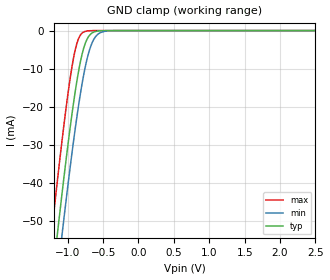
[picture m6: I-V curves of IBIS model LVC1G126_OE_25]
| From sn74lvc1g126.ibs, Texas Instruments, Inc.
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[Model]   LVC1G126_OE_25
Model_type  Input
Vinl=0.7
Vinh=1.7
| variable   typ   min   max
C_comp   1.13pF   0.90pF   1.36pF
[Temperature Range]   40   100   -40
| Ambient temperature   25   85   -40
[Voltage range]   2.5   2.3   2.7
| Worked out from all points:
|   GND clamp passes 1 mA (typ) near -0.68 V on its own axis
[GND Clamp]
| LVC1G126_OE_25
|   Voltage   I(typ)   I(min)   I(max)
-5.5V     -872.3mA   -880mA     -863mA
-1.23V    -67.62mA   -78.47mA   -53.67mA
-1.155V   -55.02mA   -65.9mA    -41.02mA
-1.13V    -50.91mA   -61.78mA   -36.92mA
-1.085V   -43.65mA   -54.48mA   -29.72mA
-1.065V   -40.48mA   -51.28mA   -26.62mA
-950mV    -23.39mA   -33.72mA   -10.74mA
-860mV    -12.16mA   -21.41mA   -2.808mA
-785mV    -5.383mA   -12.75mA   -501uA
-715mV    -1.873mA   -6.62mA    -78.61uA
-575mV    -130.5uA   -995.5uA   -1.737uA
2.5V      1.112nA    59.61nA    4.652pA
